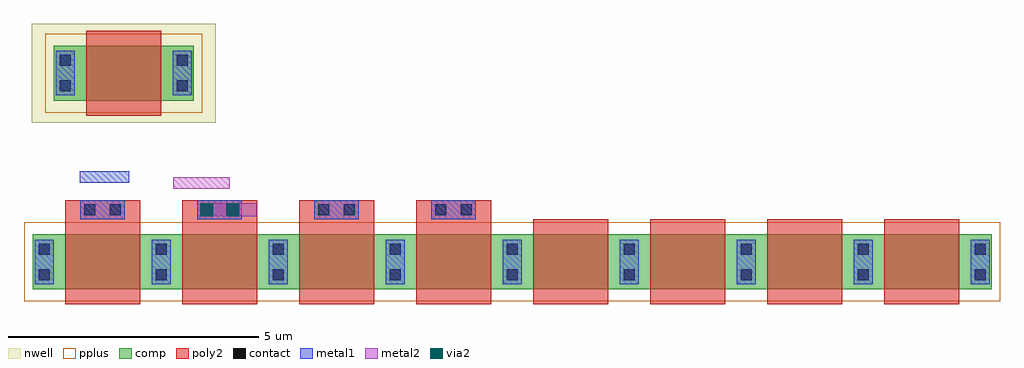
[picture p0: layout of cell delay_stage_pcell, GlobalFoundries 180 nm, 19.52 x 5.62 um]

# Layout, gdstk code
import gdstk
lib = gdstk.Library(unit=1e-6, precision=5e-09)
def R(c, l, rs):  # rectangles x0, y0, x1, y1
    for r in rs: c.add(gdstk.rectangle(r[:2], r[2:], *l))
def A(c, l, x, y, w, h, nx, ny, dx, dy):  # array of equal rectangles
    R(c, l, [(x+i*dx, y+j*dy, x+i*dx+w, y+j*dy+h) for i in range(nx) for j in range(ny)])
nwell = (21, 0)
comp = (22, 0)
poly2 = (30, 0)
pplus = (31, 0)
contact = (33, 0)
metal1 = (34, 0)
metal2 = (36, 0)
via2 = (38, 0)

delay_stage_pcell_1_1 = lib.new_cell('delay_stage_pcell_1$1')
R(delay_stage_pcell_1_1, comp, [(0.17,0.3,0.63,1.4), (0.63,0.3,2.51,1.4), (2.51,0.3,2.97,1.4)])
R(delay_stage_pcell_1_1, poly2, [(0.82,0,2.32,1.7)])
R(delay_stage_pcell_1_1, pplus, [(0,0.06,3.14,1.64)])
R(delay_stage_pcell_1_1, contact, [(0.29,0.485,0.51,0.705), (2.63,0.485,2.85,0.705), (0.29,0.995,0.51,1.215), (2.63,0.995,2.85,1.215)])
R(delay_stage_pcell_1_1, metal1, [(0.21,0.405,0.59,1.295), (2.55,0.405,2.93,1.295)])

delay_stage_pcell_4 = lib.new_cell('delay_stage_pcell_4')
delay_stage_pcell_4.add(gdstk.Reference(delay_stage_pcell_1_1, (0,0)))
delay_stage_pcell_4.add(gdstk.Reference(delay_stage_pcell_1_1, (2.34,0)))
delay_stage_pcell_4.add(gdstk.Reference(delay_stage_pcell_1_1, (4.68,0)))
delay_stage_pcell_4.add(gdstk.Reference(delay_stage_pcell_1_1, (7.02,0)))

delay_stage_pcell = lib.new_cell('delay_stage_pcell')
R(delay_stage_pcell, nwell, [(0.83,4.965,4.51,6.945)])
R(delay_stage_pcell, comp, [(1.27,5.405,1.73,6.505), (1.73,5.405,3.61,6.505), (3.61,5.405,4.07,6.505)])
A(delay_stage_pcell, poly2, 1.5, 3.03, 1.5, 0.38, 4, 1, 2.34, 0)
R(delay_stage_pcell, poly2, [(1.92,5.105,3.42,6.805)])
R(delay_stage_pcell, pplus, [(1.1,5.165,4.24,6.745)])
R(delay_stage_pcell, contact, [(1.885,3.11,2.105,3.33), (2.395,3.11,2.615,3.33), (4.225,3.11,4.445,3.33), (4.735,3.11,4.955,3.33), (6.565,3.11,6.785,3.33), (7.075,3.11,7.295,3.33), (8.905,3.11,9.125,3.33), (9.415,3.11,9.635,3.33), (1.39,5.59,1.61,5.81), (3.73,5.59,3.95,5.81), (1.39,6.1,1.61,6.32), (3.73,6.1,3.95,6.32)])
A(delay_stage_pcell, metal1, 1.805, 3.03, 0.89, 0.38, 4, 1, 2.34, 0)
R(delay_stage_pcell, metal1, [(1.31,5.51,1.69,6.4), (3.65,5.51,4.03,6.4)])
R(delay_stage_pcell, via2, [(4.2,3.09,4.46,3.35), (4.72,3.09,4.98,3.35)])
delay_stage_pcell.add(gdstk.FlexPath([(1.795,3.875),(2.78,3.875)], 0.23, ends="flush", simple_path=True, layer=34, datatype=0))  # metal1
delay_stage_pcell.add(gdstk.FlexPath([(3.66,3.755),(4.795,3.755)], 0.23, ends="flush", simple_path=True, layer=36, datatype=0))  # metal2
delay_stage_pcell.add(gdstk.FlexPath([(4.2,3.22),(5.335,3.22)], 0.26, ends="flush", simple_path=True, layer=36, datatype=0))  # metal2
delay_stage_pcell.add(gdstk.Reference(delay_stage_pcell_4, (0.68,1.33)))
delay_stage_pcell.add(gdstk.Reference(delay_stage_pcell_4, (10.04,1.33)))

lib.write_gds('delay_stage_pcell.gds')
